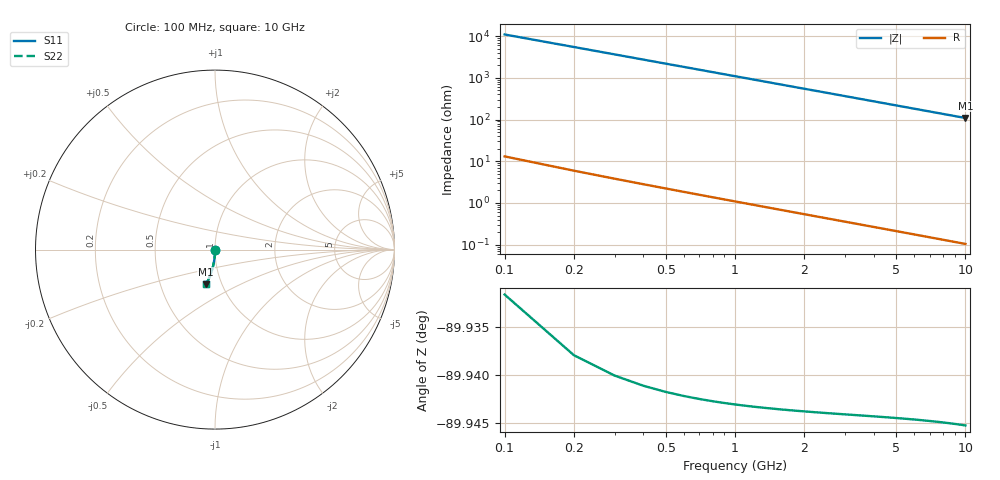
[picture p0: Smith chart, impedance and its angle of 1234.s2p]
# Hz S RI R 50.00
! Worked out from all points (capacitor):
!   100 points, 100 MHz to 10 GHz, reference 50 ohm
!   read as one part in shunt: C = 145 fF near 100 MHz
!   lowest |Z| = 109 ohm at 10 GHz (marker M1)
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1e8  9.31e-05 -0.00203  0.9999 -0.00253  0.9999 -0.00253  9.31e-05 -0.00203
2e8  7.61e-05 -0.00405  0.9999 -0.00507  0.9999 -0.00507  7.61e-05 -0.00405
3e8  4.87e-05 -0.00608  0.9998 -0.0076  0.9998 -0.0076  4.87e-05 -0.00608
4e8  1.09e-05 -0.00811  0.9998 -0.0101  0.9998 -0.0101  1.09e-05 -0.00811
5e8  -3.72e-05 -0.0101  0.9998 -0.0127  0.9998 -0.0127  -3.72e-05 -0.0101
6e8  -9.56e-05 -0.0122  0.9997 -0.0152  0.9997 -0.0152  -9.56e-05 -0.0122
7e8  -0.000164 -0.0142  0.9996 -0.0177  0.9996 -0.0177  -0.000164 -0.0142
8e8  -0.000243 -0.0162  0.9995 -0.0203  0.9995 -0.0203  -0.000243 -0.0162
9e8  -0.000333 -0.0182  0.9994 -0.0228  0.9994 -0.0228  -0.000333 -0.0182
1.1e9  -0.000542 -0.0223  0.9992 -0.0279  0.9992 -0.0279  -0.000542 -0.0223
1.4e9  -0.000934 -0.0284  0.9988 -0.0355  0.9988 -0.0355  -0.000934 -0.0284
1.8e9  -0.0016 -0.0365  0.9981 -0.0456  0.9981 -0.0456  -0.0016 -0.0365
2.1e9  -0.00221 -0.0425  0.9975 -0.0532  0.9975 -0.0532  -0.00221 -0.0425
2.5e9  -0.00316 -0.0506  0.9965 -0.0633  0.9965 -0.0633  -0.00316 -0.0506
2.9e9  -0.00428 -0.0586  0.9954 -0.0734  0.9954 -0.0734  -0.00428 -0.0586
3.4e9  -0.0059 -0.0686  0.9937 -0.0859  0.9937 -0.0859  -0.0059 -0.0686
4.2e9  -0.00903 -0.0846  0.9905 -0.1059  0.9905 -0.1059  -0.00903 -0.0846
5.1e9  -0.0133 -0.1023  0.9861 -0.1283  0.9861 -0.1283  -0.0133 -0.1023
5.9e9  -0.0178 -0.1179  0.9815 -0.1479  0.9815 -0.1479  -0.0178 -0.1179
6.7e9  -0.0229 -0.1332  0.9763 -0.1674  0.9763 -0.1674  -0.0229 -0.1332
8.4e9  -0.0357 -0.1649  0.9632 -0.2079  0.9632 -0.2079  -0.0357 -0.1649
1e10  -0.05 -0.1934  0.9484 -0.2447  0.9484 -0.2447  -0.05 -0.1934
